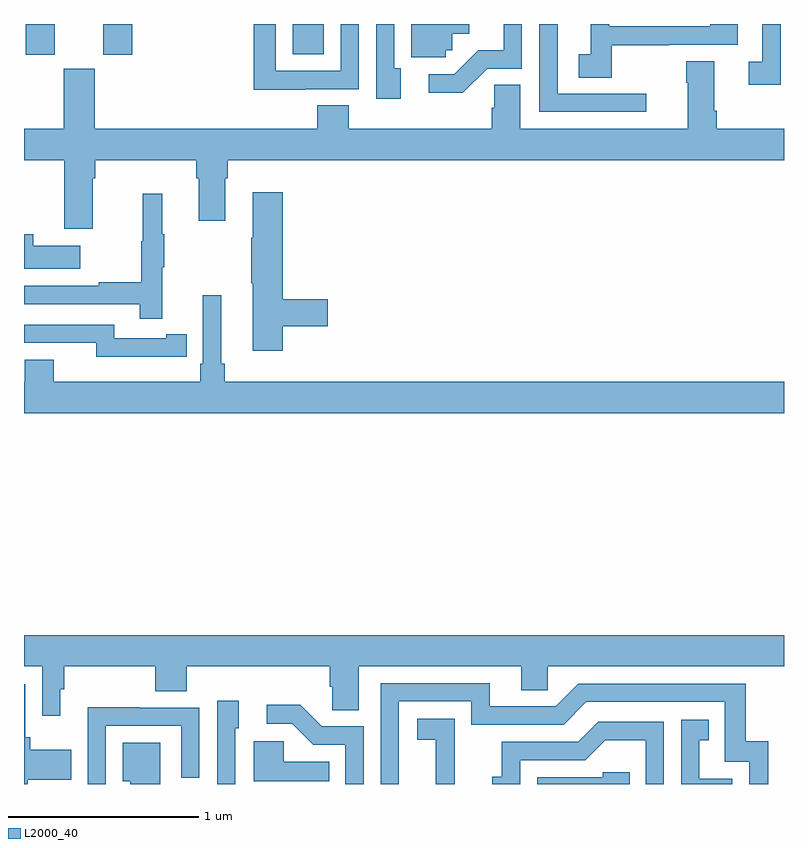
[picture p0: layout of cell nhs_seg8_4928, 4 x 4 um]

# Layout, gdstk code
import gdstk
lib = gdstk.Library(unit=1e-6, precision=1e-09)
def R(c, l, rs):  # rectangles x0, y0, x1, y1
    for r in rs: c.add(gdstk.rectangle(r[:2], r[2:], *l))
def P(c, l, *ps):  # polygons
    for p in ps: c.add(gdstk.Polygon(p, *l))
L2000_40 = (2000, 40)

nhs_seg8_4928 = lib.new_cell('nhs_seg8_4928')
R(nhs_seg8_4928, L2000_40, [(409.01,1099.737,409.162,1099.9), (409.418,1099.737,409.571,1099.9), (410.414,1099.74,410.578,1099.9)])
P(nhs_seg8_4928, L2000_40, [(411.438,1099.665),(411.621,1099.665),(411.621,1099.9),(411.524,1099.9),(411.524,1099.762),(411.391,1099.762),(411.264,1099.635),(411.129,1099.635),(411.129,1099.538),(411.31,1099.538)],
  [(412.983,1099.9),(412.886,1099.9),(412.886,1099.701),(412.815,1099.701),(412.815,1099.581),(412.983,1099.581)],
  [(410.479,1099.557),(410.763,1099.557),(410.763,1099.9),(410.667,1099.9),(410.667,1099.653),(410.325,1099.653),(410.325,1099.9),(410.209,1099.9),(410.209,1099.553),(410.479,1099.553)],
  [(412.276,1099.533),(411.808,1099.533),(411.808,1099.9),(411.711,1099.9),(411.711,1099.437),(412.276,1099.437)],
  [(410.983,1099.666),(410.949,1099.666),(410.949,1099.9),(410.853,1099.9),(410.853,1099.506),(410.983,1099.506)],
  [(411.219,1099.761),(411.255,1099.761),(411.255,1099.85),(411.343,1099.85),(411.343,1099.9),(411.038,1099.9),(411.038,1099.725),(411.219,1099.725)],
  [(412.093,1099.789),(412.397,1099.789),(412.397,1099.791),(412.756,1099.791),(412.756,1099.9),(412.611,1099.9),(412.611,1099.887),(412.08,1099.887),(412.08,1099.9),(411.984,1099.9),(411.984,1099.74),(411.921,1099.74),(411.921,1099.618),(412.093,1099.618)],
  [(409.363,1099.088),(409.376,1099.088),(409.376,1099.184),(409.907,1099.184),(409.907,1099.088),(409.919,1099.088),(409.919,1098.864),(410.059,1098.864),(410.059,1099.088),(410.072,1099.088),(410.072,1099.184),(413,1099.184),(413,1099.348),(412.646,1099.348),(412.646,1099.444),(412.633,1099.444),(412.633,1099.705),(412.486,1099.705),(412.486,1099.592),(412.493,1099.592),(412.493,1099.348),(411.613,1099.348),(411.613,1099.58),(411.475,1099.58),(411.475,1099.458),(411.461,1099.458),(411.461,1099.348),(410.708,1099.348),(410.708,1099.472),(410.543,1099.472),(410.543,1099.348),(409.372,1099.348),(409.372,1099.665),(409.208,1099.665),(409.208,1099.348),(409,1099.348),(409,1099.184),(409.211,1099.184),(409.211,1098.822),(409.363,1098.822)],
  [(410.363,1098.31),(410.599,1098.31),(410.599,1098.452),(410.363,1098.452),(410.363,1099.015),(410.204,1099.015),(410.204,1098.776),(410.197,1098.776),(410.197,1098.535),(410.204,1098.535),(410.204,1098.18),(410.363,1098.18)],
  [(409.727,1098.619),(409.738,1098.619),(409.738,1098.793),(409.727,1098.793),(409.727,1099.006),(409.624,1099.006),(409.624,1098.756),(409.617,1098.756),(409.617,1098.542),(409.393,1098.542),(409.393,1098.522),(409,1098.522),(409,1098.426),(409.609,1098.426),(409.609,1098.348),(409.727,1098.348)],
  [(409.297,1098.733),(409.049,1098.733),(409.049,1098.793),(409,1098.793),(409,1098.611),(409.297,1098.611)],
  [(413,1098.016),(410.057,1098.016),(410.057,1098.112),(410.038,1098.112),(410.038,1098.472),(409.941,1098.472),(409.941,1098.112),(409.928,1098.112),(409.928,1098.016),(409.156,1098.016),(409.156,1098.133),(409.004,1098.133),(409.004,1098.016),(409,1098.016),(409,1097.852),(413,1097.852)],
  [(409.748,1098.15),(409.856,1098.15),(409.856,1098.266),(409.748,1098.266),(409.748,1098.246),(409.476,1098.246),(409.476,1098.318),(409,1098.318),(409,1098.222),(409.38,1098.222),(409.38,1098.149),(409.748,1098.149)],
  [(409.192,1096.399),(409.211,1096.399),(409.211,1096.52),(409.691,1096.52),(409.691,1096.387),(409.856,1096.387),(409.856,1096.52),(410.609,1096.52),(410.609,1096.411),(410.622,1096.411),(410.622,1096.288),(410.761,1096.288),(410.761,1096.52),(411.617,1096.52),(411.617,1096.393),(411.756,1096.393),(411.756,1096.52),(413,1096.52),(413,1096.684),(409,1096.684),(409,1096.52),(409.095,1096.52),(409.095,1096.26),(409.192,1096.26)],
  [(410.973,1096.335),(411.354,1096.335),(411.354,1096.212),(411.84,1096.212),(411.96,1096.332),(412.689,1096.332),(412.689,1096.017),(412.818,1096.017),(412.818,1095.9),(412.916,1095.9),(412.916,1096.126),(412.798,1096.126),(412.798,1096.428),(411.918,1096.428),(411.798,1096.308),(411.451,1096.308),(411.451,1096.431),(410.877,1096.431),(410.877,1095.9),(410.973,1095.9)],
  [(409.02,1095.902),(409.02,1095.923),(409.249,1095.923),(409.249,1096.081),(409.032,1096.081),(409.032,1096.146),(409.006,1096.146),(409.006,1096.426),(409,1096.426),(409,1095.9),(409.018,1095.9)],
  [(410.112,1096.194),(410.131,1096.194),(410.131,1096.339),(410.016,1096.339),(410.016,1095.9),(410.112,1095.9)],
  [(410.787,1096.203),(410.568,1096.203),(410.455,1096.316),(410.277,1096.316),(410.277,1096.218),(410.411,1096.218),(410.522,1096.107),(410.691,1096.107),(410.691,1095.9),(410.787,1095.9)],
  [(409.431,1096.206),(409.827,1096.206),(409.827,1095.933),(409.923,1095.933),(409.923,1096.302),(409.607,1096.302),(409.607,1096.304),(409.335,1096.304),(409.335,1095.9),(409.431,1095.9)],
  [(411.266,1096.037),(411.267,1096.037),(411.267,1096.243),(411.069,1096.243),(411.069,1096.133),(411.167,1096.133),(411.167,1095.905),(411.168,1095.905),(411.168,1095.9),(411.266,1095.9)],
  [(412.728,1095.927),(412.555,1095.927),(412.555,1096.131),(412.604,1096.131),(412.604,1096.237),(412.458,1096.237),(412.458,1095.9),(412.728,1095.9)],
  [(411.612,1096.026),(411.954,1096.026),(412.058,1096.13),(412.272,1096.13),(412.272,1095.9),(412.368,1095.9),(412.368,1096.227),(412.022,1096.227),(411.917,1096.122),(411.514,1096.122),(411.514,1095.937),(411.465,1095.937),(411.465,1095.9),(411.612,1095.9)],
  [(410.606,1096.018),(410.367,1096.018),(410.367,1096.126),(410.21,1096.126),(410.21,1095.914),(410.606,1095.914)],
  [(409.717,1096.117),(409.52,1096.117),(409.52,1095.914),(409.559,1095.914),(409.559,1095.9),(409.717,1095.9)],
  [(412.187,1095.963),(412.047,1095.963),(412.047,1095.936),(411.702,1095.936),(411.702,1095.9),(412.187,1095.9)])

lib.write_gds('nhs_seg8_4928.gds')
